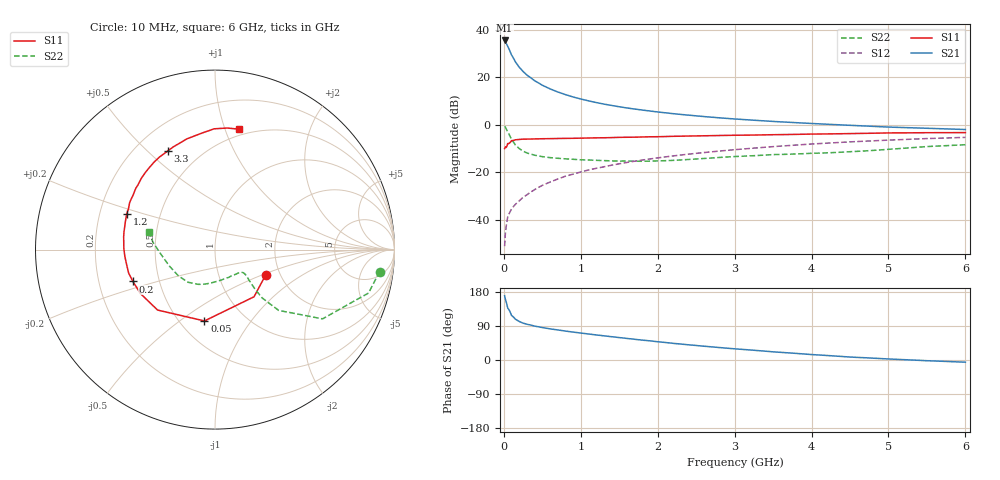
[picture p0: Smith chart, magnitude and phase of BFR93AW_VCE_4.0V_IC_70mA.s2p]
! Infineon Technologies  Discrete & RF Semiconductors
! BFR93AW
! VCE =  4.0 V,  IC =  70 mA
! Common Emitter S-Parameters:  Jan 2017
# GHz  S  MA  R  50
!  f  S11  S21  S12  S22
! GHz  MAG  ANG  MAG  ANG  MAG  ANG  MAG  ANG
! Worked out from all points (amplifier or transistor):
!   77 points, 10 MHz to 6 GHz, reference 50 ohm
!   highest |S21| = 35.4 dB at 10 MHz (marker M1)
!   |S21| within 3 dB of that: start of sweep to 58.69 MHz
!   unconditionally stable (mu >= 1): 296.4 MHz to 2.213 GHz
!   at 130 MHz: K = 0.71, MSG = 31.0 dB, |S12| = -34.2 dB
!   at 2.2 GHz: K = 1.00, MAG = 8.7 dB, |S12| = -13.1 dB
!   at 6 GHz: K = 0.92, MSG = 1.6 dB, |S12| = -5.3 dB
!   S11 on the Smith chart (normalised r, x): 10 MHz: 1.68, -0.53; 50 MHz: 0.66, -0.62; 200 MHz: 0.35, -0.16; 1.2 GHz: 0.32, +0.18; 3.3 GHz: 0.33, +0.58; 6 GHz: 0.44, +1.11
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0.01  0.3158 -26.7  59.16 169.7  0.0028 78.6  0.9253 -7.6
0.02  0.3411 -50.4  57.17 160.2  0.0052 79.3  0.8891 -15.8
0.05  0.4018 -98.4  44.85 137.4  0.0114 64.2  0.7125 -32.8
0.1  0.4645 -133.5  29.39 117.5  0.0169 60.8  0.4903 -43.7
0.15  0.4824 -149.6  21.04 107.7  0.0212 61.6  0.3761 -45.7
0.2  0.4907 -158.8  16.21 101.7  0.0251 65.2  0.3156 -44.7
0.25  0.4985 -164.8  13.18 97.3  0.0298 66.3  0.2796 -43.3
0.3  0.499 -169.3  11.07 94.3  0.0337 68.5  0.255 -41.9
0.4  0.5037 -175.7  8.419 89.4  0.0432 71.0  0.2288 -39.8
0.5  0.5079 179.4  6.773 85.6  0.0531 72.0  0.2135 -39.2
0.6  0.5101 175.3  5.688 82.2  0.0623 72.9  0.2036 -39.2
0.7  0.5138 172.1  4.895 79.4  0.0722 73.9  0.1972 -40.1
0.9  0.5188 165.9  3.836 73.7  0.0915 73.3  0.1879 -43.4
1.1  0.5263 160.4  3.182 68.7  0.112 72.7  0.1815 -47.9
1.2  0.5305 157.8  2.931 66.2  0.1212 71.9  0.1787 -50.3
1.6  0.5457 148.5  2.256 56.9  0.1612 69.0  0.1727 -63.6
2.1  0.5653 138.0  1.782 46.2  0.211 64.7  0.1756 -84.0
3.1  0.6034 119.2  1.291 28.0  0.3082 54.7  0.2178 -118.6
3.3  0.6092 115.7  1.23 24.9  0.3272 52.5  0.2258 -124.3
4.1  0.6388 102.7  1.044 13.2  0.4015 43.6  0.2533 -147.8
5.1  0.6739 89.1  0.883 1.8  0.4823 32.1  0.3121 -178.2
6  0.684 78.9  0.793 -5.8  0.5428 21.9  0.3803 164.7
